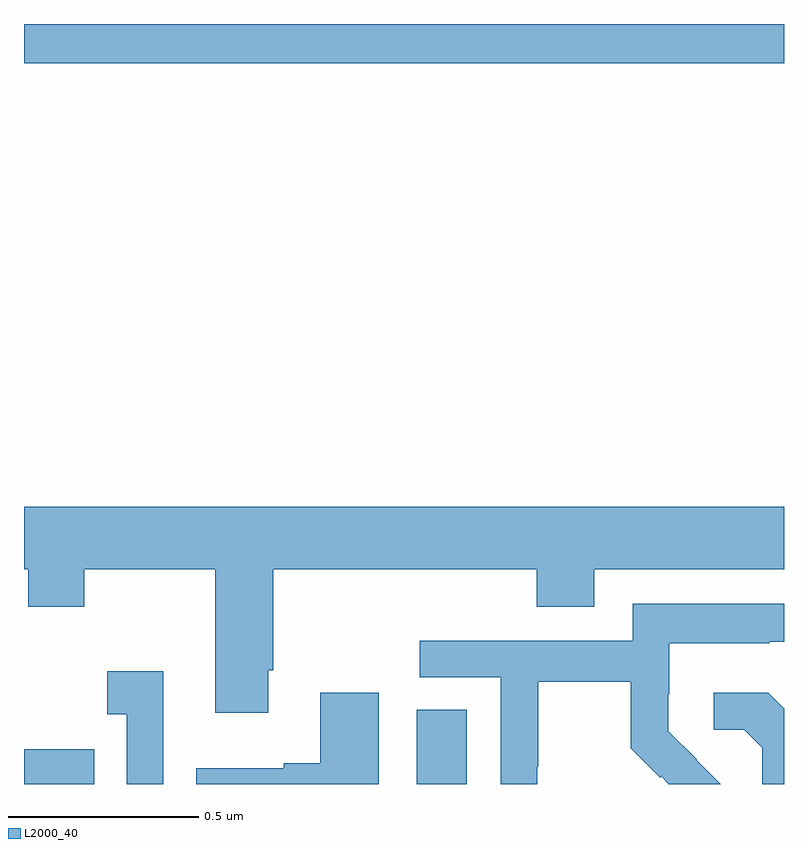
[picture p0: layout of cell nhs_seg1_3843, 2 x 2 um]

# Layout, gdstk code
import gdstk
lib = gdstk.Library(unit=1e-6, precision=1e-09)
def R(c, l, rs):  # rectangles x0, y0, x1, y1
    for r in rs: c.add(gdstk.rectangle(r[:2], r[2:], *l))
def P(c, l, *ps):  # polygons
    for p in ps: c.add(gdstk.Polygon(p, *l))
L2000_40 = (2000, 40)

nhs_seg1_3843 = lib.new_cell('nhs_seg1_3843')
R(nhs_seg1_3843, L2000_40, [(159,519.199,159.185,519.291), (160.034,519.199,160.165,519.395), (159,521.096,161,521.199)])
P(nhs_seg1_3843, L2000_40, [(159.643,519.499),(159.656,519.499),(159.656,519.764),(160.349,519.764),(160.349,519.665),(160.501,519.665),(160.501,519.764),(161,519.764),(161,519.928),(159,519.928),(159,519.764),(159.011,519.764),(159.011,519.665),(159.159,519.665),(159.159,519.764),(159.503,519.764),(159.503,519.387),(159.643,519.387)],
  [(160.35,519.244),(160.353,519.244),(160.353,519.468),(160.597,519.468),(160.597,519.293),(160.674,519.216),(160.677,519.219),(160.697,519.199),(160.833,519.199),(160.769,519.263),(160.77,519.264),(160.696,519.338),(160.696,519.435),(160.698,519.435),(160.698,519.569),(160.961,519.569),(160.961,519.573),(161,519.573),(161,519.673),(160.602,519.673),(160.602,519.576),(160.041,519.576),(160.041,519.48),(160.254,519.48),(160.254,519.199),(160.35,519.199)],
  [(159.366,519.496),(159.219,519.496),(159.219,519.383),(159.27,519.383),(159.27,519.199),(159.366,519.199)],
  [(159.934,519.439),(159.779,519.439),(159.779,519.254),(159.683,519.254),(159.683,519.241),(159.453,519.241),(159.453,519.199),(159.934,519.199)],
  [(161,519.397),(160.958,519.439),(160.815,519.439),(160.815,519.342),(160.896,519.342),(160.943,519.295),(160.943,519.199),(161,519.199)])

lib.write_gds('nhs_seg1_3843.gds')
